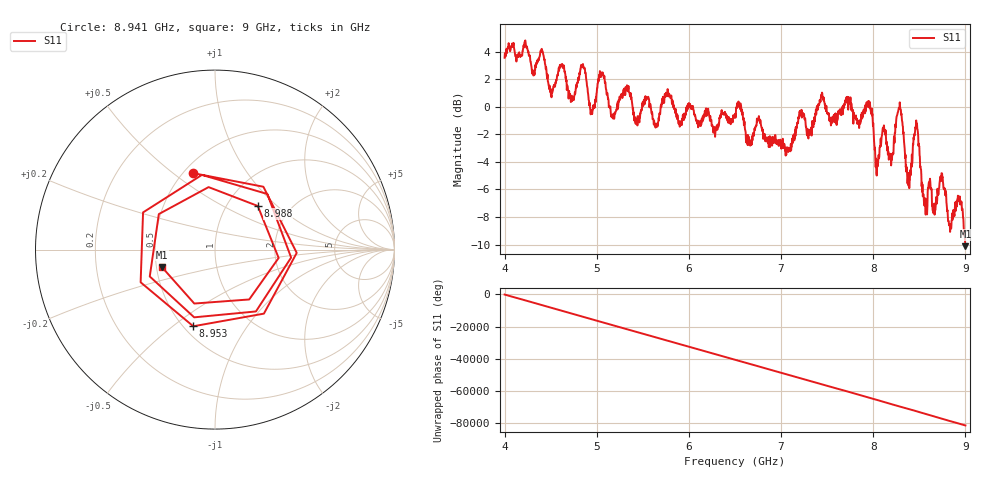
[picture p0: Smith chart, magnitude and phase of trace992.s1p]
! Created with skrf 1.8.0 (http://scikit-rf.org).
# Hz S RI R 50.0
!freq ReS11 ImS11
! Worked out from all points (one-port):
!   1601 points, 4 GHz to 9 GHz, reference 50 ohm
!   lowest |S11| = -10.1 dB at 9 GHz (marker M1), VSWR 1.91, Z = 26.7 - j5.68 ohm
!   |S11| at or under -10 dB: 8.998733 GHz to end of sweep
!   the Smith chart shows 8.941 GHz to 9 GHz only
!   S11 on the Smith chart (normalised r, x): 8.941 GHz: 0.56, +0.59; 8.953 GHz: 0.56, -0.59; 8.988 GHz: 1.38, +0.76; 9 GHz: 0.53, -0.11
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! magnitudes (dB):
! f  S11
! 4 GHz  3.5
! 4.409 GHz  4.0
! 4.506 GHz  0.9
! 4.625 GHz  3.1
! 4.728 GHz  0.8
! 4.847 GHz  3.1
! 4.944 GHz  -0.5
! 5.047 GHz  2.2
! 5.166 GHz  -0.7
! 5.25 GHz  0.7
! 5.875 GHz  -0.6
! 6.5 GHz  -0.6
! 7.125 GHz  -2.7
! 7.441 GHz  0.9
! 7.75 GHz  0.4
! 7.966 GHz  0.1
! 8.041 GHz  -4.4
! 8.112 GHz  -1.7
! 8.194 GHz  -4.3
! 8.288 GHz  0.3
! 8.375 GHz  -5.3
! 8.462 GHz  -1.6
! 8.562 GHz  -6.6
! 8.738 GHz  -5.4
! 8.941 GHz  -7.1
! 8.953 GHz  -7.1
! 8.988 GHz  -9.4
! 9 GHz  -10.1
